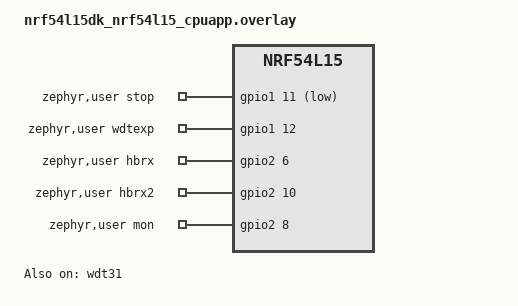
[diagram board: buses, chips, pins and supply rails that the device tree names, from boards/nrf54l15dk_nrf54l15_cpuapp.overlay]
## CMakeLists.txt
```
cmake_minimum_required(VERSION 3.20.0)
find_package(Zephyr REQUIRED HINTS $ENV{ZEPHYR_BASE})
project(z54_lat_periph)
target_sources(app PRIVATE src/main.c)
target_sources_ifdef(CONFIG_APP_SAFETY_WATCHDOG app PRIVATE src/watchdog.c)
```

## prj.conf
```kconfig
CONFIG_BT=y
CONFIG_BT_PERIPHERAL=y
CONFIG_BT_DEVICE_NAME="z54-lat"
CONFIG_BT_PERIPHERAL_PREF_MIN_INT=6
CONFIG_BT_PERIPHERAL_PREF_MAX_INT=6
CONFIG_BT_PERIPHERAL_PREF_LATENCY=0
CONFIG_BT_PERIPHERAL_PREF_TIMEOUT=400
CONFIG_BT_USER_PHY_UPDATE=y
CONFIG_BT_USER_DATA_LEN_UPDATE=y
CONFIG_BT_CTLR_PHY_2M=y
CONFIG_BT_CTLR_DATA_LENGTH_MAX=251
CONFIG_HEAP_MEM_POOL_SIZE=4096
CONFIG_MAIN_STACK_SIZE=2048
CONFIG_SERIAL=y
CONFIG_CONSOLE=y
CONFIG_UART_CONSOLE=y
CONFIG_PRINTK=y
CONFIG_LOG=y


# Phase 2 controller in-event echo: symbol exists only in the patched open tree
# (zephyr-patches/); defaults n there. Not set here so the same prj.conf builds
# under NCS/SDC, where the symbol does not exist.
CONFIG_BT_GAP_AUTO_UPDATE_CONN_PARAMS=n
```

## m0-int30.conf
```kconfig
# 30 ms interval via peripheral PREF -> auto param update
CONFIG_BT_PERIPHERAL_PREF_MIN_INT=24
CONFIG_BT_PERIPHERAL_PREF_MAX_INT=24
```

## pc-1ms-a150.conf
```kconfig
# §6.1 positive control arm A: 2M/1ms low-lat, STOCK tifs=150
CONFIG_BT_CTLR_CONN_INTERVAL_LOW_LATENCY=y
CONFIG_BT_CTLR_ADVANCED_FEATURES=y
CONFIG_BT_CTLR_EVENT_IFS_LOW_LAT_US=150
CONFIG_APP_TIFS_CLEAR_S=30
CONFIG_APP_TIFS_END_S=70
CONFIG_BT_CONN_PARAM_ANY=y
```

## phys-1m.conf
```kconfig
CONFIG_BT_CTLR_PHY_2M=n
# 1M blast overruns 7.5ms events pre-update: sanctioned non-fatal fall-through
CONFIG_BT_CTLR_ASSERT_DEBUG=n
```

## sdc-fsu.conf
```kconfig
# GATT-SDC responder FSU fragment — apply ON THE FSU-ON ARM ONLY, stacked after the SDC sink overlays,
# e.g.  -DEXTRA_CONF_FILE="sdc-sel.conf;tput.conf;sdc-6x.conf;sdc-llbuf.conf;sdc-fsu.conf"
#
# WHY: FSU (lowest frame space) must be enabled on BOTH ends. The GATT-SDC *central* FSU-on overlay
# (hh-sdc-fsu.conf) sets CONFIG_BT_CTLR_SDC_ENABLE_LOWEST_FRAME_SPACE=y, and the CoC-SDC sink
# (apps/coc/coc-sink/sdc.conf) sets it too — but the GATT-SDC responder overlays historically did NOT,
# so the SDC-GATT FSU-on responder stayed at the default frame space and the measured SDC-GATT FSU
# delta was UNDERSTATED. This fragment closes that gap. (SDC Kconfig semantics live in nRF Connect SDK,
# not this repo — re-measure the SDC-GATT FSU delta after adding this; the prior number is conservative.)
CONFIG_BT_CTLR_SDC_ENABLE_LOWEST_FRAME_SPACE=y
```

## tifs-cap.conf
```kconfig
# M0 §6.1 EVENT_TIMER RX-PHYEND->TX-READY capture (bench-only proxy)
CONFIG_BT_CTLR_TIFS_CAPTURE_BENCH=y
```

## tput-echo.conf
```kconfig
# Throughput cells: DLE (auto via >27 buffers) + MTU 247 on the receiver.
CONFIG_BT_BUF_ACL_TX_SIZE=251
CONFIG_BT_BUF_ACL_RX_SIZE=251
CONFIG_BT_L2CAP_TX_MTU=247
CONFIG_BT_AUTO_DATA_LEN_UPDATE=y
CONFIG_BT_CTLR_SDC_RX_PACKET_COUNT=10
CONFIG_BT_CTLR_SDC_TX_PACKET_COUNT=10
CONFIG_BT_CTLR_SDC_CONN_EVENT_EXTEND_DEFAULT=y
# duplex cells: echo ON (this file = tput.conf minus SINK)
```

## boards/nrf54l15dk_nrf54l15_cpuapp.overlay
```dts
/* Safety-watchdog bench GPIOs (§14.9).
 *
 * Pins VERIFIED against zephyr/boards/nordic/nrf54l15dk on 2026-08-05:
 * port-1 claims are P1.00/01 XL1/XL2 (32k crystal), P1.02/03 NFC,
 * P1.04-07 uart20 console, P1.08 button2, P1.09 button1, P1.10 led1,
 * P1.13 button0, P1.14 led3. P1.15/P1.16 are NOT routed to the DK
 * headers (PORT P1 header ends at 13/14) — third signal on P2.06
 * (free: port-2 claims are P2.01/02/04/05 SPI flash, P2.07/09 LEDs).
 * The §14.9 hardware inputs (final pin, STOP polarity, drive type, boot
 * state, re-arm form) supersede these when a real actuator circuit exists.
 *
 * STOP is GPIO_ACTIVE_LOW: logical "asserted" = line LOW. Fit the EXTERNAL
 * pull-down so the line reads LOW (= STOP) while the MCU is held in reset,
 * unpowered, or the pin is high-impedance — RUN must require active drive.
 */
&wdt31 {
	status = "okay";   /* §14.9 rev-4: hardware watchdog carries the deadline */
};

/ {
	zephyr,user {
		stop-gpios   = <&gpio1 11 GPIO_ACTIVE_LOW>;   /* STOP output (latched)   */
		wdtexp-gpios = <&gpio1 12 GPIO_ACTIVE_HIGH>;  /* LA: toggles at expiry-callback entry */
		hbrx-gpios   = <&gpio2 6 GPIO_ACTIVE_HIGH>;   /* LA: toggles per valid HB */
		hbrx2-gpios  = <&gpio2 10 GPIO_ACTIVE_HIGH>;  /* HBRX mirror for the chip-EXTERNAL
		                     watchdog (nRF52-DK feed input): its own copy of the
		                     valid-HB toggle so no header hole needs two wires */
		mon-gpios    = <&gpio2 8 (GPIO_ACTIVE_HIGH | GPIO_PULL_DOWN)>;
		                    /* cross-board fail-safe monitor (bench stand-in for the
		                     * discrete pull-down): input + internal ~13k pull-down,
		                     * jumpered to the CENTRAL's ALIVE pin for the
		                     * power-loss->ALIVE-falls check; this board survives
		                     * that test, so its pull is external to the DUT. */
	};
};
```

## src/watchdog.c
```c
/*
 * Actuator-side safety watchdog — DRAFT bench implementation (§14.9), rev 3.
 *
 * State machine:  STOPPED (STOP asserted, LATCHED)
 *                   --re-arm request (physical button sw0)--> ARMING
 *                 ARMING: requires CONFIG_APP_WDT_ARM_HEARTBEATS consecutive VALID
 *                   heartbeats, each >= CONFIG_APP_WDT_ARM_MIN_SPACING_MS after the
 *                   previous counted one, AND a minimum dwell of
 *                   CONFIG_APP_WDT_ARM_MIN_DURATION_MS in ARMING (anti-burst: ten
 *                   queued frames delivered back-to-back must NOT arm)
 *                   --> RUNNING (STOP de-asserted)
 *                 RUNNING: each valid heartbeat restarts the deadline timer;
 *                   expiry --> STOPPED (latched again).
 *
 * CONCURRENCY (rev-2 fix): every state transition and safety-GPIO change happens
 * under one k_spinlock shared with the expiry ISR, so expiry always wins: if the
 * deadline fires while an ARMING->RUNNING transition is in flight, the transition
 * re-observes STOPPED under the lock and refuses to de-assert STOP.
 *
 * Validity of a heartbeat: dedicated GATT handle only (main.c routes just that
 * characteristic here, offset==0 enforced), exact 8-byte {epoch u32, seq u32} LE,
 * epoch equal to the epoch captured at ARMING entry, and seq FRESH by
 * serial-number arithmetic ((int32_t)(seq - last) > 0, handles 32-bit wrap).
 * A central reboot NORMALLY produces a new random epoch (32-bit, probabilistic —
 * not a guarantee) -> its heartbeats are invalid in ARMING/RUNNING -> deadline
 * expiry -> STOP; only the physical button restarts ARMING. The seq/epoch checks
 * reject ACCIDENTAL duplicates/reordering only — NOT an active attacker;
 * production needs authenticated heartbeats bound to a fresh session nonce.
 *
 * DEADLINE (rev 4): the 200 ms deadline runs on the ON-CHIP HARDWARE WATCHDOG
 * (wdt31, 32.768 kHz LFCLK, fed per valid heartbeat) — no RTOS timer in the
 * expiry path. Expiry: the WDT pre-reset interrupt toggles the wdtexp marker
 * and drives STOP, then the peripheral RESETS THE CHIP (~2 LFCLK later) into
 * the latched-STOP boot state. A hung RTOS/app stops feeding and trips anyway.
 * During the reset itself the pin is hi-Z — the EXTERNAL pull-down carries
 * STOP across the gap (that is what it is for).
 *
 * WHAT IS NOT FINAL-SAFETY-PATH IN THIS DRAFT (explicit, per review):
 *  - The hardware WDT shares the SoC with the application: a whole-chip
 *    failure (clock/power/latch-up) defeats it. Chip-independent coverage
 *    needs an EXTERNAL watchdog part in the actuator circuit.
 *  - STOP is a bench GPIO + LED mirror; electrical fail-safety depends on the
 *    EXTERNAL pull (reset/unpowered/hi-Z must read as STOP) and the real
 *    actuator circuit. An LED demo is not electrical validation.
 *  - Overlay pins are BENCH PLACEHOLDERS pending the §14.9 hardware inputs.
 *
 * Logic-analyzer channels (rev-2 fix — clean interval semantics):
 *  - hbrx:   toggles once per VALID heartbeat (edge = event)
 *  - wdtexp: toggles at expiry-callback ENTRY, BEFORE the STOP write, and is
 *            touched nowhere else -> an independent expiry marker (the old
 *            level-mirror produced an apparent negative expiry->STOP delay)
 *  - stop:   level (asserted low externally-pulled)
 */
#include <zephyr/kernel.h>
#include <zephyr/spinlock.h>
#include <zephyr/sys/printk.h>
#include <zephyr/sys/byteorder.h>
#include <zephyr/drivers/gpio.h>
#include <zephyr/drivers/watchdog.h>
#include <zephyr/drivers/hwinfo.h>
#include <stdio.h>
#include "watchdog.h"

#define ZUSER DT_PATH(zephyr_user)

static const struct gpio_dt_spec stop_gpio = GPIO_DT_SPEC_GET(ZUSER, stop_gpios);
static const struct gpio_dt_spec hbrx_gpio = GPIO_DT_SPEC_GET(ZUSER, hbrx_gpios);
static const struct gpio_dt_spec wdtexp_gpio = GPIO_DT_SPEC_GET(ZUSER, wdtexp_gpios);
static const struct gpio_dt_spec hbrx2_gpio = GPIO_DT_SPEC_GET(ZUSER, hbrx2_gpios);
static const struct gpio_dt_spec led = GPIO_DT_SPEC_GET(DT_ALIAS(led0), gpios);
static const struct gpio_dt_spec rearm_btn = GPIO_DT_SPEC_GET(DT_ALIAS(sw0), gpios);

enum wdt_state { WDT_STOPPED, WDT_ARMING, WDT_RUNNING };
static enum wdt_state state = WDT_STOPPED;   /* guarded by `lock` */
static struct k_spinlock lock;               /* serializes state + safety GPIOs vs expiry ISR */
static bool hw_fault;                        /* GPIO fault (bring-up or runtime): never RUNNING */
static bool epoch_locked;                    /* epoch capture enabled ONLY by the button:
                                              * cleared in rearm_pressed(), set by the first
                                              * heartbeat after it. Invalid frames may reset the
                                              * consecutive count but NEVER clear/replace the
                                              * epoch — otherwise a second sender could arm
                                              * without a new physical re-arm (rev-3 fix). */
static uint32_t epoch, last_seq;
static volatile uint32_t gpio_runtime_fail;  /* runtime safety-GPIO write failures */
static uint32_t arm_count;
static int64_t arming_since_ms, last_counted_hb_ms;
static volatile uint32_t hb_valid, hb_invalid, stops, rearms;
static int64_t last_valid_hb_ms, stop_at_ms;

/* Must be called with `lock` held. SILENT (no printk in the critical section —
 * callers log after releasing the lock); the STOP write is checked: a runtime
 * GPIO failure latches hw_fault and falls back to releasing the pin to hi-Z so
 * the EXTERNAL pull-down asserts STOP electrically. */
static void stop_assert_locked(void)
{
	int rc = gpio_pin_set_dt(&stop_gpio, 1);   /* active (= line low = STOP) */
	if (rc) {
		gpio_runtime_fail++;
		hw_fault = true;
		/* ATTEMPTS hi-Z fallback so the external pull-down can assert STOP
		 * electrically — also checked, but if both writes fail nothing more
		 * can be done from software: the analyzer's PHYSICAL STOP trace is
		 * authoritative, never this code path's bookkeeping. */
		if (gpio_pin_configure_dt(&stop_gpio, GPIO_DISCONNECTED)) {
			gpio_runtime_fail++;
		}
	}
	(void)gpio_pin_set_dt(&led, 1);
	state = WDT_STOPPED;
	stops++;
	stop_at_ms = k_uptime_get();
}

/* Hardware watchdog (wdt31 = alias watchdog0). Channel installed at early
 * init; the countdown STARTS only at ARMING entry (starting it at boot would
 * reset-loop a system whose designed boot state is latched-STOP with no
 * heartbeats). Once set up, the nRF WDT cannot be stopped by software — it
 * either gets fed or it resets the chip. */
static const struct device *const hw_wdt_dev = DEVICE_DT_GET(DT_ALIAS(watchdog0));
static int hw_wdt_chan = -1;
static bool hw_wdt_live;                     /* countdown running (guarded by `lock`) */

/* Pre-reset window (~2 LFCLK ≈ 61 µs on nRF): marker edge first, then STOP.
 * No lock, no printk — the chip resets moments after this returns, and
 * K_SPINLOCK sections mask this IRQ, so a mid-transition RUN write is always
 * older than this STOP write (last writer wins = STOP). Boot then re-enters
 * latched-STOP; the external pull-down owns the line during reset itself. */
static void hw_wdt_expiry_cb(const struct device *dev, int chan)
{
	ARG_UNUSED(dev); ARG_UNUSED(chan);
	gpio_pin_toggle_dt(&wdtexp_gpio);          /* LA channel 4: expiry-entry marker */
	(void)gpio_pin_set_dt(&stop_gpio, 1);      /* active (= line low = STOP) */
	(void)gpio_pin_set_dt(&led, 1);
}

/* Must be called with `lock` held. Starts the countdown on first use (ARMING
 * entry), feeds it afterwards. Failure latches hw_fault + STOP. */
static void deadline_kick_locked(void)
{
	if (!hw_wdt_live) {
		if (wdt_setup(hw_wdt_dev, WDT_OPT_PAUSE_HALTED_BY_DBG) == 0) {
			hw_wdt_live = true;
		} else {
			gpio_runtime_fail++;
			stop_assert_locked();
			hw_fault = true;
		}
	} else {
		(void)wdt_feed(hw_wdt_dev, hw_wdt_chan);
	}
}

void safety_wdt_heartbeat(const void *buf, uint16_t len)
{
	if (len != 8) { hb_invalid++; return; }
	uint32_t e = sys_get_le32(buf);
	uint32_t q = sys_get_le32((const uint8_t *)buf + 4);
	int64_t now = k_uptime_get();
	bool became_running = false;

	K_SPINLOCK(&lock) {
		if (state == WDT_STOPPED || hw_fault) { hb_invalid++; K_SPINLOCK_BREAK; }

		if (state == WDT_ARMING && !epoch_locked) {
			/* First structurally-valid HB after the BUTTON locks the epoch.
			 * epoch_locked is cleared only in rearm_pressed() — an invalid
			 * frame later resets the count but can never re-open capture. */
			epoch = e; last_seq = q;
			epoch_locked = true;
			arm_count = 1;
			last_counted_hb_ms = now;
		} else if (epoch_locked && e == epoch && (int32_t)(q - last_seq) > 0) {
			last_seq = q;
			if (state == WDT_ARMING) {
				/* Anti-burst: count only appropriately-SPACED heartbeats. */
				if (now - last_counted_hb_ms >= CONFIG_APP_WDT_ARM_MIN_SPACING_MS) {
					arm_count++;
					last_counted_hb_ms = now;
				}
			}
		} else {
			hb_invalid++;
			if (state == WDT_ARMING) { arm_count = 0; }  /* consecutive broken */
			K_SPINLOCK_BREAK;
		}

		hb_valid++;
		last_valid_hb_ms = now;
		gpio_pin_toggle_dt(&hbrx_gpio);   /* LA: one edge per valid HB */
		gpio_pin_toggle_dt(&hbrx2_gpio);  /* same evidence for the EXTERNAL watchdog */
		deadline_kick_locked();           /* feed the HARDWARE watchdog */

		/* Arm only after N spaced heartbeats AND a minimum ARMING dwell —
		 * evaluated and applied UNDER THE LOCK, so an expiry that latched
		 * STOPPED first makes this branch unreachable (expiry wins). */
		if (state == WDT_ARMING &&
		    arm_count >= CONFIG_APP_WDT_ARM_HEARTBEATS &&
		    now - arming_since_ms >= CONFIG_APP_WDT_ARM_MIN_DURATION_MS) {
			int rc = gpio_pin_set_dt(&stop_gpio, 0);   /* drive RUN (line high) */
			if (rc) {
				/* Cannot verify RUN drive: stay safe. */
				gpio_runtime_fail++;
				stop_assert_locked();
				hw_fault = true;
			} else {
				state = WDT_RUNNING;
				(void)gpio_pin_set_dt(&led, 0);
				became_running = true;
			}
		}
	}
	if (became_running) {
		printk("WDT: RUNNING (armed: %u spaced HBs over %lld ms, epoch=%08x)\n",
		       arm_count, k_uptime_get() - arming_since_ms, epoch);
	}
}

static struct gpio_callback btn_cb;
static void rearm_pressed(const struct device *dev, struct gpio_callback *cb, uint32_t pins)
{
	ARG_UNUSED(dev); ARG_UNUSED(cb); ARG_UNUSED(pins);
	bool entered = false;

	K_SPINLOCK(&lock) {
		if (state != WDT_STOPPED || hw_fault) { K_SPINLOCK_BREAK; }
		/* Physical re-arm request (bench stand-in for the production physical /
		 * authenticated re-arm). Enters ARMING only. The ONLY place epoch
		 * capture is re-enabled (rev-3). */
		rearms++;
		epoch_locked = false;
		arm_count = 0;
		arming_since_ms = k_uptime_get();
		state = WDT_ARMING;
		deadline_kick_locked();   /* start (first arm) or feed the HW countdown */
		entered = true;
	}
	if (entered) { printk("WDT: ARMING (button re-arm request #%u)\n", rearms); }
}

static bool booted_from_wdt;   /* prior trip evidence (reset-cause register) */

int safety_wdt_early_init(void)
{
	int rc = 0;

	/* Reset-cause evidence: a hardware-WDT trip ends in a chip reset, so the
	 * proof a trip happened survives here (read + clear so it is per-boot). */
	uint32_t cause = 0;
	if (hwinfo_get_reset_cause(&cause) == 0) {
		booted_from_wdt = (cause & RESET_WATCHDOG) != 0;
		(void)hwinfo_clear_reset_cause();
	}

	/* Called BEFORE bt_enable(). Any failure here must prevent Bluetooth
	 * startup and make RUNNING unreachable (hw_fault latch). */
	if (!gpio_is_ready_dt(&stop_gpio) || !gpio_is_ready_dt(&wdtexp_gpio) ||
	    !gpio_is_ready_dt(&hbrx_gpio) || !gpio_is_ready_dt(&led) ||
	    !gpio_is_ready_dt(&rearm_btn) || !device_is_ready(hw_wdt_dev)) {
		rc = -ENODEV;
	}
	if (!rc) {
		/* Install the deadline channel now (setup happens at first ARMING).
		 * WDT_FLAG_RESET_SOC: expiry = pre-reset callback + chip reset into
		 * the latched-STOP boot state. */
		const struct wdt_timeout_cfg cfg = {
			.window = { .min = 0, .max = CONFIG_APP_WDT_TIMEOUT_MS },
			.callback = hw_wdt_expiry_cb,
			.flags = WDT_FLAG_RESET_SOC,
		};
		hw_wdt_chan = wdt_install_timeout(hw_wdt_dev, &cfg);
		if (hw_wdt_chan < 0) { rc = hw_wdt_chan; }
	}
	if (!rc) { rc = gpio_pin_configure_dt(&stop_gpio, GPIO_OUTPUT_ACTIVE); }  /* STOP */
	if (!rc) { rc = gpio_pin_configure_dt(&wdtexp_gpio, GPIO_OUTPUT_INACTIVE); }
	if (!rc) { rc = gpio_pin_configure_dt(&hbrx_gpio, GPIO_OUTPUT_INACTIVE); }
	if (!rc) { rc = gpio_pin_configure_dt(&hbrx2_gpio, GPIO_OUTPUT_INACTIVE); }
	if (!rc) { rc = gpio_pin_configure_dt(&led, GPIO_OUTPUT_ACTIVE); }
	if (!rc) { rc = gpio_pin_configure_dt(&rearm_btn, GPIO_INPUT); }
	if (!rc) { rc = gpio_pin_interrupt_configure_dt(&rearm_btn, GPIO_INT_EDGE_TO_ACTIVE); }
	if (!rc) {
		gpio_init_callback(&btn_cb, rearm_pressed, BIT(rearm_btn.pin));
		rc = gpio_add_callback(rearm_btn.port, &btn_cb);
	}

	state = WDT_STOPPED;
	stops = 0;   /* boot-assert is the initial condition, not a trip event */
	if (rc) {
		hw_fault = true;
		printk("WDT: GPIO bring-up FAILED (%d) — STOP latched, BT must not start\n", rc);
		return rc;
	}
	printk("WDT: early init — STOP asserted before BT init "
	       "(HARDWARE deadline %d ms on wdt31, arm N=%d spacing>=%d ms dwell>=%d ms)%s\n",
	       CONFIG_APP_WDT_TIMEOUT_MS, CONFIG_APP_WDT_ARM_HEARTBEATS,
	       CONFIG_APP_WDT_ARM_MIN_SPACING_MS, CONFIG_APP_WDT_ARM_MIN_DURATION_MS,
	       booted_from_wdt ? " [boot follows HW-WDT reset — prior STOP trip]" : "");
	return 0;
}

void safety_wdt_status(char *out, size_t n)
{
	static const char *names[] = {"STOPPED", "ARMING", "RUNNING"};
	snprintf(out, n, "wdt=%s%s%s%s hb_ok=%u hb_bad=%u stops=%u rearms=%u gpiofail=%u",
		 names[state], hw_wdt_live ? "(hw)" : "",
		 booted_from_wdt ? "(posttrip)" : "", hw_fault ? "(HWFAULT)" : "",
		 hb_valid, hb_invalid, stops, rearms, gpio_runtime_fail);
}
```

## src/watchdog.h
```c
/* Actuator-side safety watchdog (safety/STOP-MEASUREMENT.md §1).
 * DRAFT: hardware-abstracted bench implementation — see watchdog.c header comment
 * for what is and is NOT final-safety-path here. */
#ifndef APP_WATCHDOG_H_
#define APP_WATCHDOG_H_

#include <zephyr/kernel.h>

/* Assert STOP and configure all safety GPIOs. MUST be called before bt_enable()
 * so the system boots into the safe (STOP-asserted, latched) state.
 * Returns 0 on success; nonzero = GPIO bring-up failed -> the caller MUST NOT
 * start Bluetooth, and RUNNING is made unreachable (hw_fault latch). */
int safety_wdt_early_init(void);

/* Feed the watchdog from the dedicated heartbeat GATT write callback.
 * Validates length + epoch + monotonic sequence (serial-number arithmetic);
 * invalid frames are counted and ignored — they never feed the timer. */
void safety_wdt_heartbeat(const void *buf, uint16_t len);

/* One-line state/counter summary for the 1 Hz telemetry report. */
void safety_wdt_status(char *out, size_t n);

#endif
```
